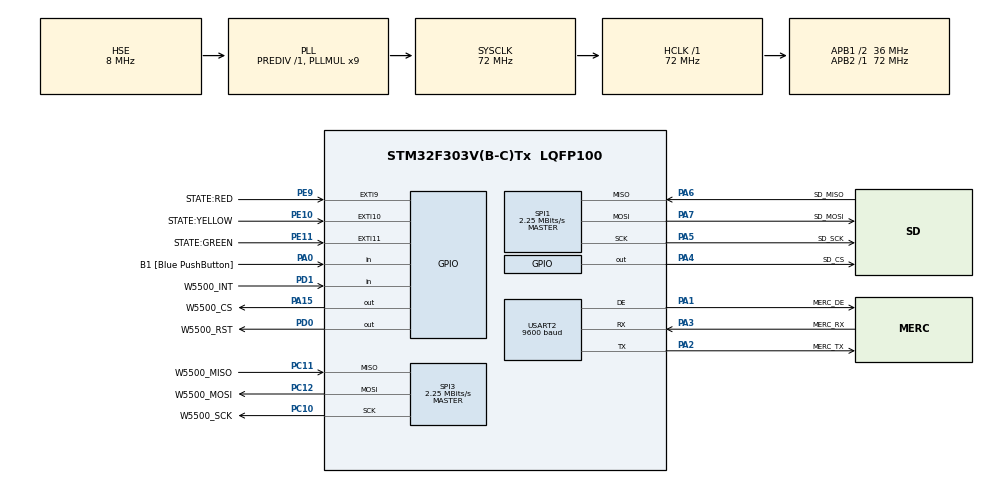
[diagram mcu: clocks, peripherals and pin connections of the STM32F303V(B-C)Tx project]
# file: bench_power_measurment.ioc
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Mcu.Family=STM32F3
Mcu.Name=STM32F303V(B-C)Tx
Mcu.Package=LQFP100
NVIC.EXTI15_10_IRQn=true\:0\:0\:false\:false\:true\:true\:true
NVIC.EXTI9_5_IRQn=true\:0\:0\:false\:false\:true\:true\:true
NVIC.PriorityGroup=NVIC_PRIORITYGROUP_0
NVIC.TIM1_TRG_COM_TIM17_IRQn=true\:0\:0\:true\:false\:true\:true\:true
NVIC.TIM1_UP_TIM16_IRQn=true\:0\:0\:false\:false\:true\:true\:true
NVIC.USART2_IRQn=true\:0\:0\:false\:false\:true\:true\:true
PA0.GPIO_Label=B1 [Blue PushButton]
PA0.Signal=GPIO_Input
PA1.GPIO_Label=MERC_DE
PA1.Mode=Hardware Flow Control (RS485)
PA1.Signal=USART2_DE
PA13.GPIO_Label=SWDIO
PA13.Mode=Serial_Wire
PA13.Signal=SYS_JTMS-SWDIO
PA14.GPIO_Label=SWCLK
PA14.Mode=Serial_Wire
PA14.Signal=SYS_JTCK-SWCLK
PA15.GPIO_Label=W5500_CS
PA15.GPIO_Speed=GPIO_SPEED_FREQ_MEDIUM
PA15.PinState=GPIO_PIN_SET
PA15.Signal=GPIO_Output
PA2.GPIO_Label=MERC_TX
PA2.Mode=Asynchronous
PA2.Signal=USART2_TX
PA3.GPIO_Label=MERC_RX
PA3.Mode=Asynchronous
PA3.Signal=USART2_RX
PA4.GPIO_Label=SD_CS
PA4.GPIO_Speed=GPIO_SPEED_FREQ_MEDIUM
PA4.PinState=GPIO_PIN_SET
PA4.Signal=GPIO_Output
PA5.GPIO_Label=SD_SCK
PA5.Mode=Full_Duplex_Master
PA5.Signal=SPI1_SCK
PA6.GPIO_Label=SD_MISO
PA6.Mode=Full_Duplex_Master
PA6.Signal=SPI1_MISO
PA7.GPIO_Label=SD_MOSI
PA7.Mode=Full_Duplex_Master
PA7.Signal=SPI1_MOSI
PB3.GPIO_Label=SWO
PB3.Signal=SYS_JTDO-TRACESWO
PC10.GPIO_Label=W5500_SCK
PC10.Mode=Full_Duplex_Master
PC10.Signal=SPI3_SCK
PC11.GPIO_Label=W5500_MISO
PC11.Mode=Full_Duplex_Master
PC11.Signal=SPI3_MISO
PC12.GPIO_Label=W5500_MOSI
PC12.Mode=Full_Duplex_Master
PC12.Signal=SPI3_MOSI
PC14-OSC32_IN.GPIO_Label=OSC32_IN
PC14-OSC32_IN.Mode=LSE-External-Oscillator
PC14-OSC32_IN.Signal=RCC_OSC32_IN
PC15-OSC32_OUT.GPIO_Label=OSC32_OUT
PC15-OSC32_OUT.Mode=LSE-External-Oscillator
PC15-OSC32_OUT.Signal=RCC_OSC32_OUT
PD0.GPIO_Label=W5500_RST
PD0.GPIO_Speed=GPIO_SPEED_FREQ_MEDIUM
PD0.PinState=GPIO_PIN_SET
PD0.Signal=GPIO_Output
PD1.GPIO_Label=W5500_INT
PD1.Signal=GPIO_Input
PE10.GPIO_Label=STATE\:YELLOW
PE10.GPIO_ModeDefaultEXTI=GPIO_MODE_IT_FALLING
PE10.GPIO_PuPd=GPIO_PULLUP
PE10.Signal=GPXTI10
PE11.GPIO_Label=STATE\:GREEN
PE11.GPIO_ModeDefaultEXTI=GPIO_MODE_IT_FALLING
PE11.GPIO_PuPd=GPIO_PULLUP
PE11.Signal=GPXTI11
PE9.GPIO_Label=STATE\:RED
PE9.GPIO_ModeDefaultEXTI=GPIO_MODE_IT_FALLING
PE9.GPIO_PuPd=GPIO_PULLUP
PE9.Signal=GPXTI9
PF0-OSC_IN.GPIO_Label=OSC_IN
PF0-OSC_IN.Mode=HSE-External-Oscillator
PF0-OSC_IN.Signal=RCC_OSC_IN
PF1-OSC_OUT.GPIO_Label=OSC_OUT
PF1-OSC_OUT.Mode=HSE-External-Oscillator
PF1-OSC_OUT.Signal=RCC_OSC_OUT
ProjectManager.HeapSize=0x200
ProjectManager.StackSize=0x400
ProjectManager.TargetToolchain=STM32CubeIDE
RCC.AHBFreq_Value=72000000
RCC.APB1CLKDivider=RCC_HCLK_DIV2
RCC.APB1Freq_Value=36000000
RCC.APB1TimFreq_Value=72000000
RCC.APB2Freq_Value=72000000
RCC.APB2TimFreq_Value=72000000
RCC.CortexFreq_Value=72000000
RCC.HCLKFreq_Value=72000000
RCC.HSE_VALUE=8000000
RCC.HSI_VALUE=8000000
RCC.PLLMUL=RCC_PLL_MUL9
RCC.PLLSourceVirtual=RCC_PLLSOURCE_HSE
RCC.RTCClockSelection=RCC_RTCCLKSOURCE_LSE
RCC.SYSCLKFreq_VALUE=72000000
RCC.SYSCLKSourceVirtual=RCC_SYSCLKSOURCE_PLLCLK
RCC.USBFreq_Value=72000000
SPI1.BaudRatePrescaler=SPI_BAUDRATEPRESCALER_32
SPI1.BaudRatePrescaler-Full_Duplex_Master=SPI_BAUDRATEPRESCALER_2
SPI1.CRCCalculation=SPI_CRCCALCULATION_DISABLE
SPI1.CalculateBaudRate=2.25 MBits/s
SPI1.CalculateBaudRate-Full_Duplex_Master=24.0 MBits/s
SPI1.DataSize=SPI_DATASIZE_8BIT
SPI1.Direction=SPI_DIRECTION_2LINES
SPI1.Mode=SPI_MODE_MASTER
SPI1.Mode-Full_Duplex_Master=SPI_MODE_MASTER
SPI1.VirtualType=VM_MASTER
SPI3.BaudRatePrescaler=SPI_BAUDRATEPRESCALER_16
SPI3.CalculateBaudRate=2.25 MBits/s
SPI3.DataSize=SPI_DATASIZE_8BIT
SPI3.Direction=SPI_DIRECTION_2LINES
SPI3.Mode=SPI_MODE_MASTER
SPI3.VirtualType=VM_MASTER
TIM16.Period=1000
TIM16.Prescaler=35999
TIM17.Period=2000
TIM17.Prescaler=35999
USART2.BaudRate=9600
USART2.SwapParam=ADVFEATURE_SWAP_DISABLE
USART2.VirtualMode-Asynchronous=VM_ASYNC
USART2.VirtualMode-Hardware\ Flow\ Control\ (RS485)=VM_ASYNC
VP_RTC_VS_RTC_Activate.Mode=RTC_Enabled
VP_RTC_VS_RTC_Calendar.Mode=RTC_Calendar
VP_TIM16_VS_ClockSourceINT.Mode=Enable_Timer
VP_TIM17_VS_ClockSourceINT.Mode=Enable_Timer
board=STM32F3DISCOVERY

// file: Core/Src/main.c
/* USER CODE BEGIN Header */
/*
	"Контроллер счетчика электроэнергии".
	Об устройстве:
	Осуществляет сбор и передачу информации о потребляемой электроэнергии.
	Сбор происходит путем опроса счетчика электроэнергии Меркурий 236 по интерфейсу RS-485 и записью данных на SD карту. Передача осуществляется по Etherenet по протоколу TCP.
	Также имеются три гальванически развязанных входа для определения хода работы станка (Red, Yellow, Green).
	------------------------------
	STM32->UART->MAX3485->RS-485
	STM32->SPI->W5500->Ethernet
	STM32->SPI->Micro SD
	------------------------------
	Частота записи данных - 120 р/мин
	Структура данных - 56 точек [Значение мощности - 4 байта, Время(timestamp) - 4 байта, Статус станка(Red, Yellow, Green) - 1 байт] = 56 * 9 = 512 байт - 1 блок памяти SD карты

	Контроллер работает как TCP сервер. При установлении связи с клиентом передаются инфо о контроллере, а затем все, накопленные на SD, данные.
	В случае перезагрузки контроллера запись на SD продолжается в первый найденный свободный сектор(см. функцию init_routine()).
	(Находит ооочень долго, поэтому в будущем планирую использовать EEPROM для хранения указателя адреса сектора SD карты).

	Либа для W5500(Ethernet контроллер) - здесь https://github.com/Wiznet/ioLibrary_Driver
	При подключении счетчика Меркурий 236 необходимо изменить дефайн MERC_NET_ADDR в хэдере mercury.h
  */
/* USER CODE END Header */
#include "main.h"

/* USER CODE BEGIN Includes */
#include "time.h"
/* USER CODE END Includes */

/* USER CODE BEGIN PTD */
typedef enum
{
	RED,
	YELLOW,
	GREEN
} Bench_state_t;
/* USER CODE END PTD */

RTC_HandleTypeDef hrtc;

SPI_HandleTypeDef hspi1;
SPI_HandleTypeDef hspi3;

TIM_HandleTypeDef htim16;
TIM_HandleTypeDef htim17;

UART_HandleTypeDef huart2;

/* USER CODE BEGIN PV */
extern RTC_TimeTypeDef Time;
extern RTC_DateTypeDef Date;

time_t timestamp;
uint32_t curr_block_num;
/* USER CODE END PV */

void SystemClock_Config(void);
static void MX_GPIO_Init(void);
static void MX_SPI1_Init(void);
static void MX_RTC_Init(void);
static void MX_SPI3_Init(void);
static void MX_USART2_UART_Init(void);
static void MX_TIM16_Init(void);
static void MX_TIM17_Init(void);
/* USER CODE BEGIN PFP */
//static void uint32_to_uint8_arr(uint32_t *u32, uint8_t *arr)
//{
//	arr[0] = *u32 & 0x000000FF;
//	arr[1] = (*u32 & 0x0000FF00) >> 8;
//	arr[2] = (*u32 & 0x00FF0000) >> 16;
//	arr[3] = (*u32 & 0xFF000000) >> 24;
//}
void init_routine(void);

/* USER CODE END PFP */

/* USER CODE BEGIN 0 */
Response_all_t resp_all;
Status_merc_t status_merc;
Power_t power;
uint8_t merc_addr = MERC_NET_ADDR;
Bench_state_t bench_state;

/*configured at wizchip.c*/
w5500chip_t w5500;

SD_t sd =
{
	.blocks_num = 0,
	.start_block_addr = 0x00ABCD,
	.block_addr = 0x00ABCD, 			//equal .start_block_addr
	.after_reboot_block_addr = 0
};
int8_t status_sd = 0;

uint32_t timestamp_arr[64];
Tcp_device_t tcp_device;
/*counters and flags*/
uint32_t i = 0;
uint8_t sys_msg = NOT_SENT;
uint8_t tcp_status = 0;
uint8_t tcp_init = 0;

//write cycles to data arrays before moving data to sd card block
uint8_t max_cycles = (sizeof(sd.block) / (sizeof(power.S) + 4 + 1)); //56 cycles (power + timestamp + bench state)

/**********/
void HAL_TIM_PeriodElapsedCallback(TIM_HandleTypeDef *htim)
{
	/*Power counter polling. 0.5s period, So f = 120Hz*/
	if(htim->Instance == TIM16)
	{
		if(i < max_cycles)
		{
			power.S = Merc_get_S_power();
			power.S_arr[i] = power.S;
			power.bench_states[i] = bench_state;
			RTC_GetDateTime(&Time, &Date);

			timestamp = RTC_ToEpoch(&Time, &Date);
			timestamp_arr[i] = timestamp;
			i++;
		}
		if(i == max_cycles)		//if data for block is ready
		{
			/*fill sd.block with power data first, timestamp and bench state after*/
			for(uint8_t i = 0; i < max_cycles; i++)
			{
				memcpy(&sd.block[i * sizeof(power.S_arr[0])], &power.S_arr[i], sizeof(power.S_arr[0]));
				/*starting from the end of power data, so from 56 * 4 position. */
				memcpy(&sd.block[i * sizeof(timestamp_arr[0]) + max_cycles * sizeof(power.S_arr[0])],
							 &timestamp_arr[i], sizeof(timestamp_arr[0]));
				memcpy(&sd.block[i * sizeof(power.bench_states[0]) + max_cycles * (sizeof(power.S_arr[0]) + sizeof(timestamp_arr[0]))],
							 &power.bench_states[i], sizeof(power.bench_states[0]));
			}
			memset(power.S_arr, 0, sizeof(power.S_arr) / sizeof(power.S_arr[0]));
			memset(timestamp_arr, 0, sizeof(timestamp_arr) / sizeof(timestamp_arr[0]));
			memset(power.bench_states, 0, sizeof(power.bench_states) / sizeof(power.bench_states[0]));

			sd_write_single_block(sd.block_addr, sd.block);
			if(sd.block_addr != sd.blocks_num)
				sd.block_addr += 1;
			else
				sd.block_addr = sd.start_block_addr;

			i = 0;
		}
	}
	/*ETH controller polling. 1s period*/
	if(htim->Instance == TIM17)
	{
		/*Firstly send info about controller/bench*/
		if(tcp_client_check(SOCKET_0) == SOCK_ESTABLISHED && sys_msg == NOT_SENT)
		{
			/*send sys messages*/
//			tcp_send_msg(SOCKET_0, w5500.netinfo.ip, sizeof(w5500.netinfo.ip));
//			tcp_send_msg(SOCKET_0, &merc_addr, sizeof(merc_addr));
			sys_msg = SENT;
			/*an amount of sd blocks would be transmit*/
			uint32_t blocks_cnt = sd.block_addr - sd.start_block_addr;
			/*slice uint32 to uint8[4] and send arr*/
//			uint8_t blocks_num_arr[4];
//			uint32_to_uint8_arr(&blocks_cnt, blocks_num_arr);
//			tcp_send_msg(SOCKET_0, blocks_num_arr, sizeof(blocks_num_arr));
		}
		/*Then send data according to cmd*/
		if(tcp_client_check(SOCKET_0) == SOCK_ESTABLISHED && sys_msg == SENT)
		{
			tcp_status = recv(SOCKET_0, tcp_device.rx_data, sizeof(tcp_device.rx_data));
			tcp_rx_parse(&tcp_device);
			memset(tcp_device.rx_data, 0, sizeof(tcp_device.rx_data));
		}
		if(tcp_client_check(SOCKET_0) != SOCK_ESTABLISHED)
		{
			tcp_server_init(SOCKET_0);
			sys_msg = NOT_SENT;
		}
	}
}

/* USER CODE END 0 */

int main(void)
{

  /* MCU Configuration--------------------------------------------------------*/

  /* Reset of all peripherals, Initializes the Flash interface and the Systick. */
  HAL_Init();

  /* Configure the system clock */
  SystemClock_Config();

  /* Initialize all configured peripherals */
  MX_GPIO_Init();
  MX_SPI1_Init();
  MX_RTC_Init();
  MX_SPI3_Init();
  MX_USART2_UART_Init();
  MX_TIM16_Init();
  MX_TIM17_Init();
  /* USER CODE BEGIN 2 */
  HAL_Delay(10);
  init_routine();
  /* USER CODE END 2 */

  /* Infinite loop */
  while (1)
  {

  }
}

void SystemClock_Config(void)
{
  RCC_OscInitTypeDef RCC_OscInitStruct = {0};
  RCC_ClkInitTypeDef RCC_ClkInitStruct = {0};
  RCC_PeriphCLKInitTypeDef PeriphClkInit = {0};

  /** Configure LSE Drive Capability
  */
  HAL_PWR_EnableBkUpAccess();
  __HAL_RCC_LSEDRIVE_CONFIG(RCC_LSEDRIVE_LOW);
  /** Initializes the RCC Oscillators according to the specified parameters
  * in the RCC_OscInitTypeDef structure.
  */
  RCC_OscInitStruct.OscillatorType = RCC_OSCILLATORTYPE_HSE|RCC_OSCILLATORTYPE_LSE;
  RCC_OscInitStruct.HSEState = RCC_HSE_ON;
  RCC_OscInitStruct.HSEPredivValue = RCC_HSE_PREDIV_DIV1;
  RCC_OscInitStruct.LSEState = RCC_LSE_ON;
  RCC_OscInitStruct.HSIState = RCC_HSI_ON;
  RCC_OscInitStruct.PLL.PLLState = RCC_PLL_ON;
  RCC_OscInitStruct.PLL.PLLSource = RCC_PLLSOURCE_HSE;
  RCC_OscInitStruct.PLL.PLLMUL = RCC_PLL_MUL9;
  if (HAL_RCC_OscConfig(&RCC_OscInitStruct) != HAL_OK)
  {
    Error_Handler();
  }
  /** Initializes the CPU, AHB and APB buses clocks
  */
  RCC_ClkInitStruct.ClockType = RCC_CLOCKTYPE_HCLK|RCC_CLOCKTYPE_SYSCLK
                              |RCC_CLOCKTYPE_PCLK1|RCC_CLOCKTYPE_PCLK2;
  RCC_ClkInitStruct.SYSCLKSource = RCC_SYSCLKSOURCE_PLLCLK;
  RCC_ClkInitStruct.AHBCLKDivider = RCC_SYSCLK_DIV1;
  RCC_ClkInitStruct.APB1CLKDivider = RCC_HCLK_DIV2;
  RCC_ClkInitStruct.APB2CLKDivider = RCC_HCLK_DIV1;

  if (HAL_RCC_ClockConfig(&RCC_ClkInitStruct, FLASH_LATENCY_2) != HAL_OK)
  {
    Error_Handler();
  }
  PeriphClkInit.PeriphClockSelection = RCC_PERIPHCLK_USART2|RCC_PERIPHCLK_RTC;
  PeriphClkInit.Usart2ClockSelection = RCC_USART2CLKSOURCE_PCLK1;
  PeriphClkInit.RTCClockSelection = RCC_RTCCLKSOURCE_LSE;
  if (HAL_RCCEx_PeriphCLKConfig(&PeriphClkInit) != HAL_OK)
  {
    Error_Handler();
  }
}

static void MX_RTC_Init(void)
{

  RTC_TimeTypeDef sTime = {0};
  RTC_DateTypeDef sDate = {0};

  /** Initialize RTC Only
  */
  hrtc.Instance = RTC;
  hrtc.Init.HourFormat = RTC_HOURFORMAT_24;
  hrtc.Init.AsynchPrediv = 127;
  hrtc.Init.SynchPrediv = 255;
  hrtc.Init.OutPut = RTC_OUTPUT_DISABLE;
  hrtc.Init.OutPutPolarity = RTC_OUTPUT_POLARITY_HIGH;
  hrtc.Init.OutPutType = RTC_OUTPUT_TYPE_OPENDRAIN;
  if (HAL_RTC_Init(&hrtc) != HAL_OK)
  {
    Error_Handler();
  }

  /** Initialize RTC and set the Time and Date
  */
  sTime.Hours = 0x0;
  sTime.Minutes = 0x0;
  sTime.Seconds = 0x0;
  sTime.DayLightSaving = RTC_DAYLIGHTSAVING_NONE;
  sTime.StoreOperation = RTC_STOREOPERATION_RESET;
//  if (HAL_RTC_SetTime(&hrtc, &sTime, RTC_FORMAT_BCD) != HAL_OK)
//  {
//    Error_Handler();
//  }
  sDate.WeekDay = RTC_WEEKDAY_MONDAY;
  sDate.Month = RTC_MONTH_JANUARY;
  sDate.Date = 0x1;
  sDate.Year = 0x0;

//  if (HAL_RTC_SetDate(&hrtc, &sDate, RTC_FORMAT_BCD) != HAL_OK)
//  {
//    Error_Handler();
//  }

}

static void MX_SPI1_Init(void)
{

  /* SPI1 parameter configuration*/
  hspi1.Instance = SPI1;
  hspi1.Init.Mode = SPI_MODE_MASTER;
  hspi1.Init.Direction = SPI_DIRECTION_2LINES;
  hspi1.Init.DataSize = SPI_DATASIZE_8BIT;
  hspi1.Init.CLKPolarity = SPI_POLARITY_LOW;
  hspi1.Init.CLKPhase = SPI_PHASE_1EDGE;
  hspi1.Init.NSS = SPI_NSS_SOFT;
  hspi1.Init.BaudRatePrescaler = SPI_BAUDRATEPRESCALER_32;
  hspi1.Init.FirstBit = SPI_FIRSTBIT_MSB;
  hspi1.Init.TIMode = SPI_TIMODE_DISABLE;
  hspi1.Init.CRCCalculation = SPI_CRCCALCULATION_DISABLE;
  hspi1.Init.CRCPolynomial = 7;
  hspi1.Init.CRCLength = SPI_CRC_LENGTH_DATASIZE;
  hspi1.Init.NSSPMode = SPI_NSS_PULSE_ENABLE;
  if (HAL_SPI_Init(&hspi1) != HAL_OK)
  {
    Error_Handler();
  }

}

static void MX_SPI3_Init(void)
{

  /* SPI3 parameter configuration*/
  hspi3.Instance = SPI3;
  hspi3.Init.Mode = SPI_MODE_MASTER;
  hspi3.Init.Direction = SPI_DIRECTION_2LINES;
  hspi3.Init.DataSize = SPI_DATASIZE_8BIT;
  hspi3.Init.CLKPolarity = SPI_POLARITY_LOW;
  hspi3.Init.CLKPhase = SPI_PHASE_1EDGE;
  hspi3.Init.NSS = SPI_NSS_SOFT;
  hspi3.Init.BaudRatePrescaler = SPI_BAUDRATEPRESCALER_16;
  hspi3.Init.FirstBit = SPI_FIRSTBIT_MSB;
  hspi3.Init.TIMode = SPI_TIMODE_DISABLE;
  hspi3.Init.CRCCalculation = SPI_CRCCALCULATION_DISABLE;
  hspi3.Init.CRCPolynomial = 7;
  hspi3.Init.CRCLength = SPI_CRC_LENGTH_DATASIZE;
  hspi3.Init.NSSPMode = SPI_NSS_PULSE_ENABLE;
  if (HAL_SPI_Init(&hspi3) != HAL_OK)
  {
    Error_Handler();
  }

}

static void MX_TIM16_Init(void)
{

  htim16.Instance = TIM16;
  htim16.Init.Prescaler = 35999;
  htim16.Init.CounterMode = TIM_COUNTERMODE_UP;
  htim16.Init.Period = 1000;
  htim16.Init.ClockDivision = TIM_CLOCKDIVISION_DIV1;
  htim16.Init.RepetitionCounter = 0;
  htim16.Init.AutoReloadPreload = TIM_AUTORELOAD_PRELOAD_DISABLE;
  if (HAL_TIM_Base_Init(&htim16) != HAL_OK)
  {
    Error_Handler();
  }

}

static void MX_TIM17_Init(void)
{

  htim17.Instance = TIM17;
  htim17.Init.Prescaler = 35999;
  htim17.Init.CounterMode = TIM_COUNTERMODE_UP;
  htim17.Init.Period = 2000;
  htim17.Init.ClockDivision = TIM_CLOCKDIVISION_DIV1;
  htim17.Init.RepetitionCounter = 0;
  htim17.Init.AutoReloadPreload = TIM_AUTORELOAD_PRELOAD_DISABLE;
  if (HAL_TIM_Base_Init(&htim17) != HAL_OK)
  {
    Error_Handler();
  }

}

static void MX_USART2_UART_Init(void)
{

  huart2.Instance = USART2;
  huart2.Init.BaudRate = 9600;
  huart2.Init.WordLength = UART_WORDLENGTH_8B;
  huart2.Init.StopBits = UART_STOPBITS_1;
  huart2.Init.Parity = UART_PARITY_NONE;
  huart2.Init.Mode = UART_MODE_TX_RX;
  huart2.Init.HwFlowCtl = UART_HWCONTROL_NONE;
  huart2.Init.OverSampling = UART_OVERSAMPLING_16;
  huart2.Init.OneBitSampling = UART_ONE_BIT_SAMPLE_DISABLE;
  huart2.AdvancedInit.AdvFeatureInit = UART_ADVFEATURE_NO_INIT;
  if (HAL_RS485Ex_Init(&huart2, UART_DE_POLARITY_HIGH, 0, 0) != HAL_OK)
  {
    Error_Handler();
  }

}

static void MX_GPIO_Init(void)
{
  GPIO_InitTypeDef GPIO_InitStruct = {0};

  /* GPIO Ports Clock Enable */
  __HAL_RCC_GPIOC_CLK_ENABLE();
  __HAL_RCC_GPIOF_CLK_ENABLE();
  __HAL_RCC_GPIOA_CLK_ENABLE();
  __HAL_RCC_GPIOE_CLK_ENABLE();
  __HAL_RCC_GPIOD_CLK_ENABLE();
  __HAL_RCC_GPIOB_CLK_ENABLE();

  /*Configure GPIO pin Output Level */
  HAL_GPIO_WritePin(GPIOA, SD_CS_Pin|W5500_CS_Pin, GPIO_PIN_SET);

  /*Configure GPIO pin Output Level */
  HAL_GPIO_WritePin(W5500_RST_GPIO_Port, W5500_RST_Pin, GPIO_PIN_SET);

  /*Configure GPIO pin : B1_Pin */
  GPIO_InitStruct.Pin = B1_Pin;
  GPIO_InitStruct.Mode = GPIO_MODE_INPUT;
  GPIO_InitStruct.Pull = GPIO_NOPULL;
  HAL_GPIO_Init(B1_GPIO_Port, &GPIO_InitStruct);

  /*Configure GPIO pins : SD_CS_Pin W5500_CS_Pin */
  GPIO_InitStruct.Pin = SD_CS_Pin|W5500_CS_Pin;
  GPIO_InitStruct.Mode = GPIO_MODE_OUTPUT_PP;
  GPIO_InitStruct.Pull = GPIO_NOPULL;
  GPIO_InitStruct.Speed = GPIO_SPEED_FREQ_MEDIUM;
  HAL_GPIO_Init(GPIOA, &GPIO_InitStruct);

  /*Configure GPIO pins : STATE_RED_Pin STATE_YELLOW_Pin STATE_GREEN_Pin */
  GPIO_InitStruct.Pin = STATE_RED_Pin|STATE_YELLOW_Pin|STATE_GREEN_Pin;
  GPIO_InitStruct.Mode = GPIO_MODE_IT_FALLING;
  GPIO_InitStruct.Pull = GPIO_PULLUP;
  HAL_GPIO_Init(GPIOE, &GPIO_InitStruct);

  /*Configure GPIO pin : W5500_RST_Pin */
  GPIO_InitStruct.Pin = W5500_RST_Pin;
  GPIO_InitStruct.Mode = GPIO_MODE_OUTPUT_PP;
  GPIO_InitStruct.Pull = GPIO_NOPULL;
  GPIO_InitStruct.Speed = GPIO_SPEED_FREQ_MEDIUM;
  HAL_GPIO_Init(W5500_RST_GPIO_Port, &GPIO_InitStruct);

  /*Configure GPIO pin : W5500_INT_Pin */
  GPIO_InitStruct.Pin = W5500_INT_Pin;
  GPIO_InitStruct.Mode = GPIO_MODE_INPUT;
  GPIO_InitStruct.Pull = GPIO_NOPULL;
  HAL_GPIO_Init(W5500_INT_GPIO_Port, &GPIO_InitStruct);

  /* EXTI interrupt init*/
  HAL_NVIC_SetPriority(EXTI9_5_IRQn, 0, 0);
  HAL_NVIC_EnableIRQ(EXTI9_5_IRQn);

  HAL_NVIC_SetPriority(EXTI15_10_IRQn, 0, 0);
  HAL_NVIC_EnableIRQ(EXTI15_10_IRQn);

}

/* USER CODE BEGIN 4 */
/*Falling edge interrupt*/
void HAL_GPIO_EXTI_Callback(uint16_t GPIO_Pin)
{
	if(GPIO_Pin == STATE_RED_Pin)
		bench_state = RED;
	if(GPIO_Pin == STATE_YELLOW_Pin)
		bench_state = YELLOW;
	if(GPIO_Pin == STATE_GREEN_Pin)
		bench_state = GREEN;
}

void init_routine(void)
{
	/*Make 0 bits of SubPriority, so only PreemptPriority bits are making impact on Priority. F1 - F7 feature*/
	HAL_NVIC_SetPriorityGrouping(NVIC_PRIORITYGROUP_4);

	HAL_NVIC_SetPriority(TIM16_IRQn, 0, 0);		//power counter polling timer
	HAL_NVIC_SetPriority(TIM17_IRQn, 1, 0);		//ETH controller polling timer
	HAL_NVIC_SetPriority(EXTI15_10_IRQn, 2, 0); //bench states
	HAL_NVIC_SetPriority(EXTI9_5_IRQn, 2, 0);

	/*---------SD CARD-------------*/
	status_sd = sd_init();
	//get total num of sd blocks of 512 byte
	status_sd = sd_get_blocks_num(&sd.blocks_num);
	uint8_t blank_block[512];
	memset(blank_block, 0, sizeof(blank_block));

	//do erase of sd card blocks
	sd_write_begin(sd.block_addr);
	for(uint32_t i = 0; i < 500; i++)
		sd_write_data(blank_block);
	sd_write_end();

	//check last write sector addr. Should find first empty blank;
	sd.after_reboot_block_addr = sd.start_block_addr;
	uint8_t empty = false;
	sd_read_begin(sd.start_block_addr);
	while(!empty)
	{
		empty = true;
		sd_read_data(sd.block);
		for(uint32_t i = 0; i < 512; i++)
		{
			if(sd.block[i] != 0)
			{
				empty = false;
				//break;
			}
		}
		sd.after_reboot_block_addr++;
	}
	sd_read_end();
	sd.after_reboot_block_addr--;
	sd.block_addr = sd.after_reboot_block_addr; //from here we start write next time

	/*---------W5500 ETHERNET-------------*/
	w5500_init(&w5500);
	while((tcp_init = tcp_server_init(SOCKET_0) != 1))
	{
	}
	tcp_cmds_init(&tcp_device);

	/*---------MERCURY-------------*/
	status_merc = Mercury_init();
	/*-----------------------------*/
	/*enable timer interrupt for mercury requests*/
	HAL_TIM_Base_Start_IT(&htim16);
	/*enable timer interrupt for ethernet controller*/
	HAL_TIM_Base_Start_IT(&htim17);

}
/* USER CODE END 4 */

void Error_Handler(void)
{
  __disable_irq();
  while (1)
  {
  }
}

/************************ (C) COPYRIGHT STMicroelectronics *****END OF FILE****/
